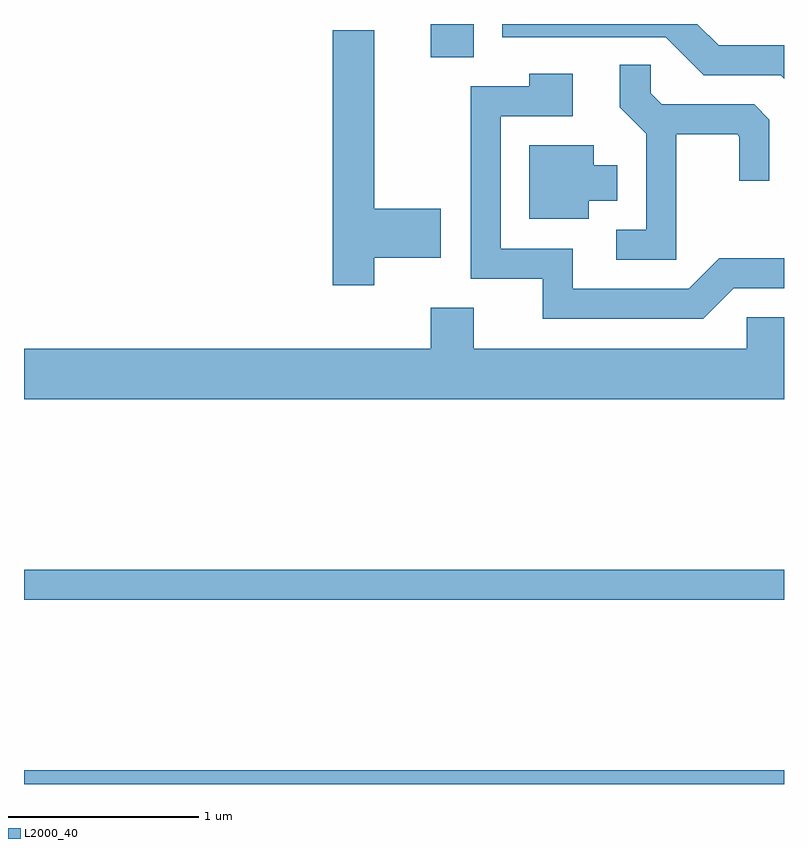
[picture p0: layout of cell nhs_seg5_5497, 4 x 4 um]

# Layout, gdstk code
import gdstk
lib = gdstk.Library(unit=1e-6, precision=1e-09)
def R(c, l, rs):  # rectangles x0, y0, x1, y1
    for r in rs: c.add(gdstk.rectangle(r[:2], r[2:], *l))
def P(c, l, *ps):  # polygons
    for p in ps: c.add(gdstk.Polygon(p, *l))
L2000_40 = (2000, 40)

nhs_seg5_5497 = lib.new_cell('nhs_seg5_5497')
R(nhs_seg5_5497, L2000_40, [(347.611,1488.072,351.611,1488.144), (347.611,1489.041,351.611,1489.199), (349.751,1491.896,349.979,1492.072)])
P(nhs_seg5_5497, L2000_40, [(351.611,1491.959),(351.267,1491.959),(351.154,1492.072),(350.128,1492.072),(350.128,1492.001),(350.989,1492.001),(351.189,1491.801),(351.594,1491.801),(351.611,1491.784)],
  [(349.454,1490.841),(349.804,1490.841),(349.804,1491.099),(349.454,1491.099),(349.454,1492.039),(349.236,1492.039),(349.236,1490.696),(349.454,1490.696)],
  [(351.044,1491.491),(351.364,1491.491),(351.376,1491.479),(351.376,1491.248),(351.534,1491.248),(351.534,1491.569),(351.454,1491.649),(350.967,1491.649),(350.909,1491.707),(350.909,1491.858),(350.746,1491.858),(350.746,1491.634),(350.886,1491.494),(350.886,1490.989),(350.728,1490.989),(350.728,1490.831),(351.044,1490.831)],
  [(351.347,1490.681),(351.611,1490.681),(351.611,1490.839),(351.269,1490.839),(351.109,1490.679),(350.499,1490.679),(350.499,1490.889),(350.119,1490.889),(350.119,1491.586),(350.499,1491.586),(350.499,1491.809),(350.271,1491.809),(350.271,1491.744),(349.961,1491.744),(349.961,1490.731),(350.341,1490.731),(350.341,1490.521),(351.187,1490.521)],
  [(350.584,1491.141),(350.734,1491.141),(350.734,1491.329),(350.609,1491.329),(350.609,1491.434),(350.271,1491.434),(350.271,1491.046),(350.584,1491.046)],
  [(351.611,1490.529),(351.416,1490.529),(351.416,1490.364),(349.979,1490.364),(349.979,1490.579),(349.751,1490.579),(349.751,1490.364),(347.611,1490.364),(347.611,1490.096),(351.611,1490.096)])

lib.write_gds('nhs_seg5_5497.gds')
